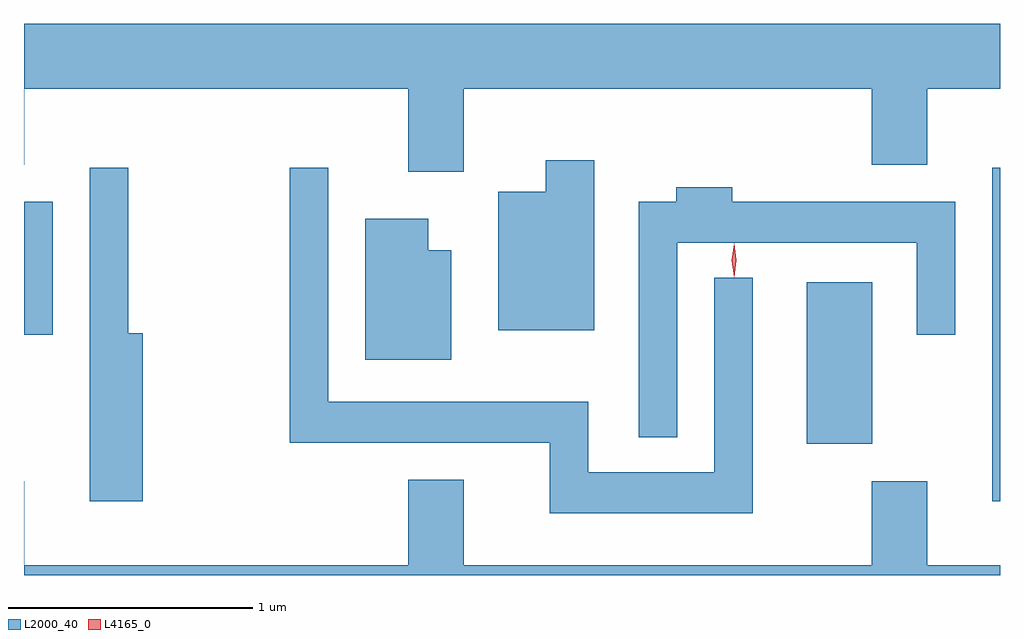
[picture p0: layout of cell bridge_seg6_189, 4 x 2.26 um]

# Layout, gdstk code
import gdstk
lib = gdstk.Library(unit=1e-6, precision=1e-09)
def R(c, l, rs):  # rectangles x0, y0, x1, y1
    for r in rs: c.add(gdstk.rectangle(r[:2], r[2:], *l))
def P(c, l, *ps):  # polygons
    for p in ps: c.add(gdstk.Polygon(p, *l))
L2000_40 = (2000, 40)
L4165_0 = (4165, 0)

bridge_seg6_189 = lib.new_cell('bridge_seg6_189')
R(bridge_seg6_189, L2000_40, [(1048.146,1568.326,1048.177,1569.693), (1047.386,1568.561,1047.654,1569.224), (1044.177,1569.008,1044.294,1569.554)])
P(bridge_seg6_189, L2000_40, [(1045.979,1570.016),(1047.651,1570.016),(1047.651,1569.706),(1047.879,1569.706),(1047.879,1570.016),(1048.177,1570.016),(1048.177,1570.284),(1044.177,1570.284),(1044.177,1569.706),(1044.179,1569.706),(1044.179,1570.016),(1045.751,1570.016),(1045.751,1569.676),(1045.979,1569.676)],
  [(1046.514,1569.724),(1046.316,1569.724),(1046.316,1569.594),(1046.121,1569.594),(1046.121,1569.026),(1046.514,1569.026)],
  [(1047.164,1569.243),(1047.006,1569.243),(1047.006,1568.444),(1046.489,1568.444),(1046.489,1568.734),(1045.424,1568.734),(1045.424,1569.693),(1045.266,1569.693),(1045.266,1568.566),(1046.331,1568.566),(1046.331,1568.276),(1047.164,1568.276)],
  [(1044.664,1569.014),(1044.604,1569.014),(1044.604,1569.693),(1044.446,1569.693),(1044.446,1568.326),(1044.664,1568.326)],
  [(1046.854,1569.386),(1047.836,1569.386),(1047.836,1569.008),(1047.994,1569.008),(1047.994,1569.554),(1047.079,1569.554),(1047.079,1569.614),(1046.851,1569.614),(1046.851,1569.554),(1046.696,1569.554),(1046.696,1568.588),(1046.854,1568.588)],
  [(1045.929,1569.354),(1045.834,1569.354),(1045.834,1569.484),(1045.576,1569.484),(1045.576,1568.906),(1045.929,1568.906)],
  [(1048.177,1568.064),(1047.879,1568.064),(1047.879,1568.409),(1047.651,1568.409),(1047.651,1568.064),(1045.979,1568.064),(1045.979,1568.414),(1045.751,1568.414),(1045.751,1568.064),(1044.179,1568.064),(1044.179,1568.409),(1044.177,1568.409),(1044.177,1568.022),(1048.177,1568.022)])
P(bridge_seg6_189, L4165_0, [(1047.087,1569.243),(1047.087,1569.244),(1047.077,1569.313),(1047.087,1569.382),(1047.087,1569.383),(1047.088,1569.382),(1047.097,1569.313),(1047.088,1569.244)])

lib.write_gds('bridge_seg6_189.gds')
